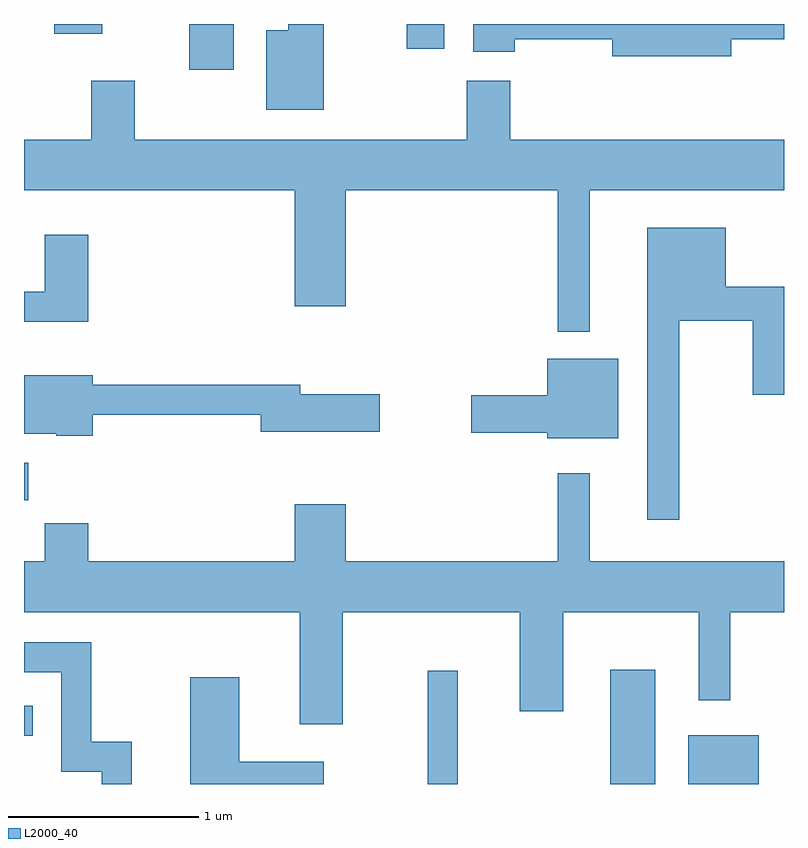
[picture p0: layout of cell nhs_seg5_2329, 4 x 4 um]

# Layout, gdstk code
import gdstk
lib = gdstk.Library(unit=1e-6, precision=1e-09)
def R(c, l, rs):  # rectangles x0, y0, x1, y1
    for r in rs: c.add(gdstk.rectangle(r[:2], r[2:], *l))
def P(c, l, *ps):  # polygons
    for p in ps: c.add(gdstk.Polygon(p, *l))
L2000_40 = (2000, 40)

nhs_seg5_2329 = lib.new_cell('nhs_seg5_2329')
R(nhs_seg5_2329, L2000_40, [(255.736,1498.072,255.894,1498.668), (256.696,1498.072,256.934,1498.674), (257.106,1498.072,257.479,1498.329), (253.611,1498.326,253.658,1498.484), (253.611,1499.566,253.634,1499.764), (254.481,1501.831,254.714,1502.072), (255.626,1501.941,255.824,1502.072), (253.771,1502.021,254.024,1502.072)])
P(nhs_seg5_2329, L2000_40, [(255.189,1502.072),(255.001,1502.072),(255.001,1502.039),(254.886,1502.039),(254.886,1501.621),(255.189,1501.621)],
  [(257.334,1501.991),(257.611,1501.991),(257.611,1502.072),(255.976,1502.072),(255.976,1501.926),(256.194,1501.926),(256.194,1501.991),(256.706,1501.991),(256.706,1501.901),(257.334,1501.901)],
  [(256.589,1501.196),(257.611,1501.196),(257.611,1501.464),(256.169,1501.464),(256.169,1501.774),(255.941,1501.774),(255.941,1501.464),(254.194,1501.464),(254.194,1501.774),(253.966,1501.774),(253.966,1501.464),(253.611,1501.464),(253.611,1501.196),(255.036,1501.196),(255.036,1500.586),(255.304,1500.586),(255.304,1501.196),(256.421,1501.196),(256.421,1500.453),(256.589,1500.453)],
  [(257.059,1500.511),(257.446,1500.511),(257.446,1500.121),(257.611,1500.121),(257.611,1500.689),(257.304,1500.689),(257.304,1500.999),(256.891,1500.999),(256.891,1499.463),(257.059,1499.463)],
  [(253.949,1500.964),(253.721,1500.964),(253.721,1500.664),(253.611,1500.664),(253.611,1500.506),(253.949,1500.506)],
  [(256.739,1500.309),(256.366,1500.309),(256.366,1500.119),(255.966,1500.119),(255.966,1499.921),(256.366,1499.921),(256.366,1499.891),(256.739,1499.891)],
  [(253.974,1500.016),(254.856,1500.016),(254.856,1499.926),(255.484,1499.926),(255.484,1500.124),(255.064,1500.124),(255.064,1500.174),(253.974,1500.174),(253.974,1500.224),(253.611,1500.224),(253.611,1499.916),(253.78,1499.916),(253.78,1499.906),(253.974,1499.906)],
  [(255.289,1498.976),(256.221,1498.976),(256.221,1498.456),(256.449,1498.456),(256.449,1498.976),(257.161,1498.976),(257.161,1498.513),(257.329,1498.513),(257.329,1498.976),(257.611,1498.976),(257.611,1499.244),(256.589,1499.244),(256.589,1499.708),(256.421,1499.708),(256.421,1499.244),(255.304,1499.244),(255.304,1499.544),(255.036,1499.544),(255.036,1499.244),(253.949,1499.244),(253.949,1499.444),(253.721,1499.444),(253.721,1499.244),(253.611,1499.244),(253.611,1498.976),(255.061,1498.976),(255.061,1498.386),(255.289,1498.386)],
  [(254.179,1498.294),(253.964,1498.294),(253.964,1498.819),(253.611,1498.819),(253.611,1498.661),(253.806,1498.661),(253.806,1498.136),(254.021,1498.136),(254.021,1498.072),(254.179,1498.072)],
  [(255.188,1498.189),(254.744,1498.189),(254.744,1498.634),(254.486,1498.634),(254.486,1498.072),(255.188,1498.072)])

lib.write_gds('nhs_seg5_2329.gds')
